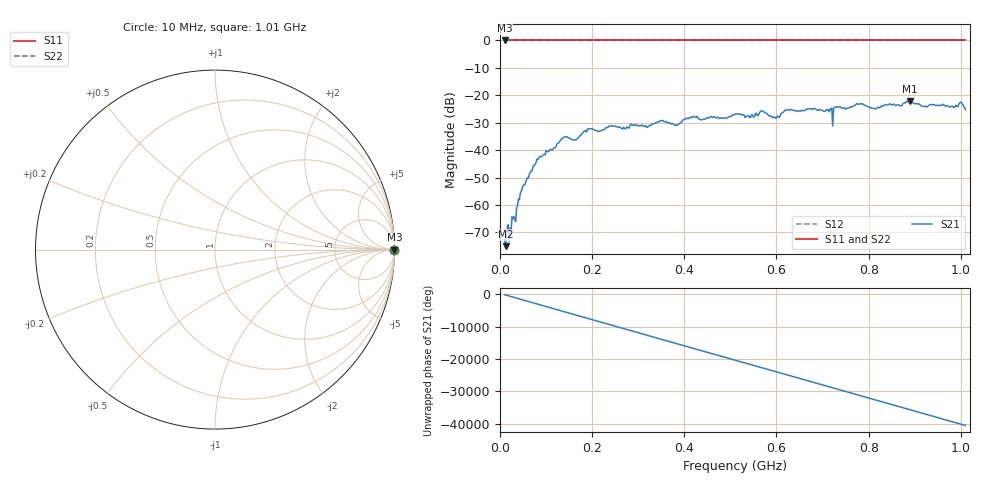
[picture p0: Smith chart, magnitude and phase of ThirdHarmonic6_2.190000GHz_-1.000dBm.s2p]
! 8/17/2025 2:06:53 AM
! C:\ANRITSUVNA\TEMP\TEMP.S2P
! CHANNEL.1
! TR.MEASUREMENT
! RAW.DATA
! RF.CORRECTION.OFF
! AVERAGING.OFF
! IF.BANDWIDTH: 5KHZ
! SWEEPTYPE:  FREQ.SWEEP(Linear)
! Reference Plane Port Info
! PORT:  PORT1  PORT2
! DISTANCE:  0  m  0  m
! TIME:  0  s  0  s
! PHASE.OFFSET:  0  deg.  0  deg.
! LOSS:  0  dB  0  dB
! REF.LOSS:  0  dB  0  dB
! REF.FREQ:  0  Hz  0  Hz
! Power Info
! POWER:  -20  dBm  -20  dBm
! EFF.POWER:  -20  dBm  -20  dBm
! SOURCE.ATTEN:  0  dB  0  dB
! TEST.ATTEN:  0  dB  0  dB
# GHZ S RI R 50.0
! FREQ.GHZ  S11RE  S11IM  S21RE  S21IM  S12RE  S12IM  S22RE  S22IM
!; PortSelection: Port_12
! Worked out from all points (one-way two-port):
!   501 points, 10 MHz to 1.01 GHz, reference 50 ohm
!   highest |S21| = -22.09 dB at 890 MHz (marker M1); lowest = -75.0 dB at 12 MHz (marker M2)
!   lowest |S11| = 0.0 dB at 10 MHz (marker M3)
!   |S11| at or under -10 dB: nowhere
!   |S22| runs from 0.0 to 0.0 dB; largest |S21 - S12| = 1.1
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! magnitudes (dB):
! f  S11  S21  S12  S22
! 10 MHz  0.0  -72.4  0.0  0.0
! 12 MHz  0.0  -75.0  0.0  0.0
! 34 MHz  0.0  -66.1  0.0  0.0
! 48 MHz  0.0  -54.2  0.0  0.0
! 84 MHz  0.0  -43.0  0.0  0.0
! 136 MHz  0.0  -35.7  0.0  0.0
! 162 MHz  0.0  -36.3  0.0  0.0
! 178 MHz  0.0  -33.9  0.0  0.0
! 344 MHz  0.0  -29.7  0.0  0.0
! 382 MHz  0.0  -30.8  0.0  0.0
! 416 MHz  0.0  -28.3  0.0  0.0
! 510 MHz  0.0  -26.9  0.0  0.0
! 570 MHz  0.0  -25.8  0.0  0.0
! 596 MHz  0.0  -28.0  0.0  0.0
! 622 MHz  0.0  -25.2  0.0  0.0
! 678 MHz  0.0  -25.1  0.0  0.0
! 718 MHz  0.0  -25.2  0.0  0.0
! 730 MHz  0.0  -24.2  0.0  0.0
! 844 MHz  0.0  -23.2  0.0  0.0
! 890 MHz  0.0  -22.1  0.0  0.0
! 1 GHz  0.0  -22.5  0.0  0.0
! 1.01 GHz  0.0  -25.2  0.0  0.0
